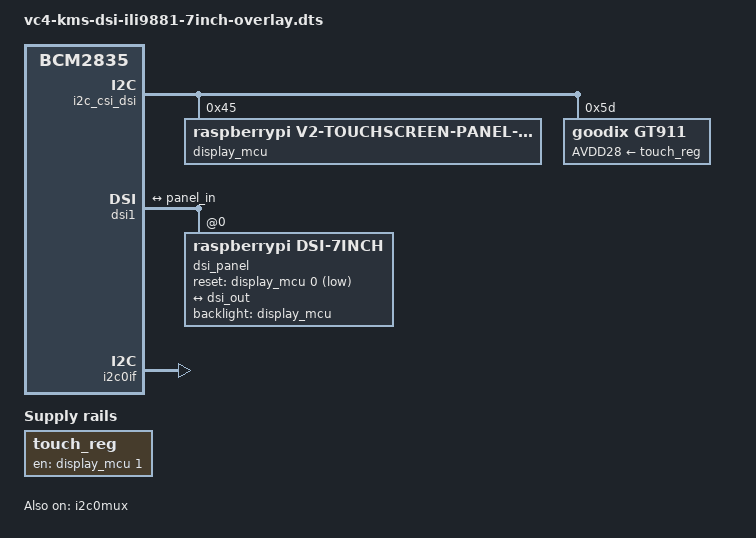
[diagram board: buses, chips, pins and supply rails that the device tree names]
/*
 * vc4-kms-dsi-ili9881-5inch-overlay.dts
 */

/dts-v1/;
/plugin/;

#include <dt-bindings/gpio/gpio.h>

/ {
	compatible = "brcm,bcm2835";

	i2c_frag: fragment@0 {
		target = <&i2c_csi_dsi>;
		__overlay__ {
			#address-cells = <1>;
			#size-cells = <0>;
			status = "okay";

			display_mcu: display_mcu@45
			{
				compatible = "raspberrypi,v2-touchscreen-panel-regulator";
				reg = <0x45>;
				gpio-controller;
				#gpio-cells = <2>;
			};

			gt911: gt911@5d {
				compatible = "goodix,gt911";
				reg = <0x5d>;
				AVDD28-supply = <&touch_reg>;
				touchscreen-size-x = <720>;
				touchscreen-size-y = <1280>;
				touchscreen-x-mm = <90>;
				touchscreen-y-mm = <151>;
			};
		};
	};

	dsi_frag: fragment@1 {
		target = <&dsi1>;
		__overlay__  {
			#address-cells = <1>;
			#size-cells = <0>;
			status = "okay";

			port {
				dsi_out: endpoint {
					remote-endpoint = <&panel_in>;
				};
			};

			dsi_panel: dsi_panel@0 {
				reg = <0>;
				compatible = "raspberrypi,dsi-7inch";
				reset-gpio = <&display_mcu 0 GPIO_ACTIVE_LOW>;
				backlight = <&display_mcu>;

				port {
					panel_in: endpoint {
						remote-endpoint = <&dsi_out>;
					};
				};
			};
		};
	};

	fragment@2 {
		target = <&i2c0if>;
		__overlay__ {
			status = "okay";
		};
	};

	fragment@3 {
		target = <&i2c0mux>;
		__overlay__ {
			status = "okay";
		};
	};

	fragment@4 {
		target-path = "/";
		__overlay__ {
			touch_reg: touch_reg@1 {
				reg = <1>;
				compatible = "regulator-fixed";
				regulator-name = "touch_reg_1";
				gpio = <&display_mcu 1 GPIO_ACTIVE_HIGH>;
				startup-delay-us = <50000>;
				enable-active-high;
			};
		};
	};

	fragment@10 {
		target = <&gt911>;
		__dormant__ {
			touchscreen-inverted-x;
		};
	};

	fragment@11 {
		target = <&gt911>;
		__dormant__ {
			touchscreen-inverted-y;
		};
	};

	__overrides__ {
		dsi0 = <&dsi_frag>, "target:0=",<&dsi0>,
		       <&i2c_frag>, "target:0=",<&i2c_csi_dsi0>,
		       <&touch_reg>, "reg:0=0",
		       <&touch_reg>, "regulator-name=touch_reg_0";
		sizex = <&gt911>,"touchscreen-size-x:0";
		sizey = <&gt911>,"touchscreen-size-y:0";
		invx = <0>, "+10";
		invy = <0>, "+11";
		swapxy = <&gt911>,"touchscreen-swapped-x-y?";
		disable_touch = <&gt911>, "status=disabled";
	};
};
